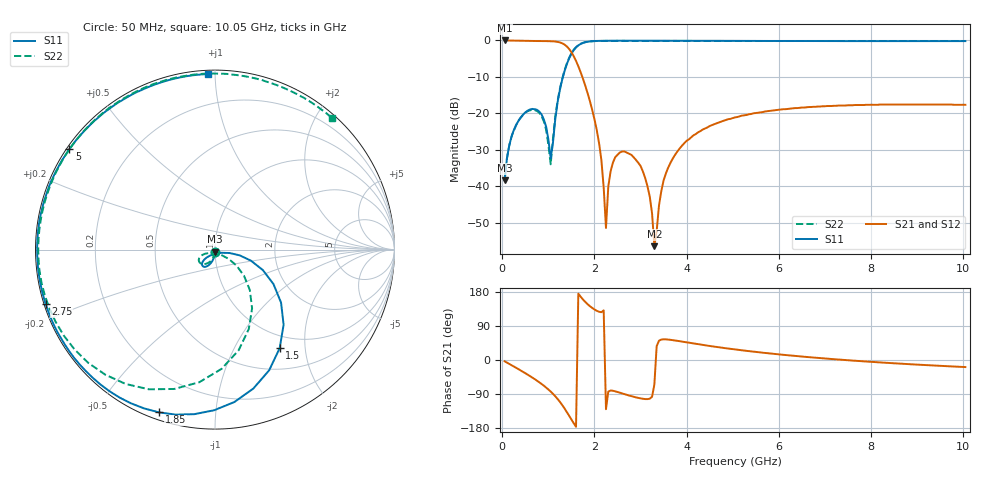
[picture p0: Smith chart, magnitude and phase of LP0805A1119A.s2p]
# MHZ S MA R 50
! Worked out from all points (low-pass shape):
!   201 points, 50 MHz to 10.05 GHz, reference 50 ohm
!   highest |S21| = -0.01 dB at 50 MHz (marker M1); lowest = -56.4 dB at 3.3 GHz (marker M2)
!   |S21| within 3 dB of the highest: start of sweep to 1.488 GHz
!   lowest |S11| = -38.4 dB at 50 MHz (marker M3), VSWR 1.02, Z = 50 - j1.2 ohm
!   |S11| at or under -10 dB: start of sweep to 1.316 GHz
!   |S22| runs from -38.4 to -0.1 dB; largest |S21 - S12| = 0
!   S11 on the Smith chart (normalised r, x): 50 MHz: 1.00, -0.02; 1.5 GHz: 0.80, -1.55; 1.85 GHz: 0.03, -0.71; 2.75 GHz: 0.00, -0.16; 5 GHz: 0.01, +0.31; 10.05 GHz: 0.02, +0.96
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50  0.012 -90.2  0.999 -3.4  0.999 -3.4  0.012 -91.4
200  0.048 -98.7  0.996 -13.7  0.996 -13.7  0.048 -103.2
600  0.113 -121.6  0.985 -42.4  0.985 -42.4  0.11 -135.1
900  0.083 -137.0  0.979 -67.7  0.979 -67.7  0.078 -157.0
1050  0.024 -91.3  0.975 -83.3  0.975 -83.3  0.02 -97.1
1200  0.142 -13.1  0.955 -102.8  0.955 -102.8  0.149 -36.5
1500  0.657 -56.7  0.69 -157.1  0.69 -157.1  0.665 -86.8
1750  0.924 -97.1  0.299 159.8  0.299 159.8  0.927 -131.3
1850  0.959 -109.0  0.19 147.4  0.19 147.4  0.96 -144.5
2150  0.987 -133.7  0.023 126.1  0.023 126.1  0.985 -173.2
2250  0.989 -139.8  0.002677 -129.9  0.002677 -129.9  0.985 179.6
2400  0.99 -147.6  0.021 -81.1  0.021 -81.1  0.985 170.1
2750  0.991 -162.3  0.028 -93.7  0.028 -93.7  0.985 152.2
3150  0.991 -175.3  0.01 -103.2  0.01 -103.2  0.985 136.3
3300  0.991 -179.6  0.001507 -64.9  0.001507 -64.9  0.985 131.2
3400  0.991 177.8  0.005422 50.8  0.005422 50.8  0.985 128.0
3900  0.99 165.8  0.036 48.5  0.036 48.5  0.984 114.1
5000  0.986 145.3  0.086 28.6  0.086 28.6  0.981 92.0
5050  0.985 144.5  0.088 27.9  0.088 27.9  0.981 91.2
6750  0.98 121.7  0.123 6.5  0.123 6.5  0.979 70.2
8400  0.979 105.3  0.132 -7.9  0.132 -7.9  0.98 57.3
10050  0.979 92.4  0.131 -18.7  0.131 -18.7  0.981 48.4
